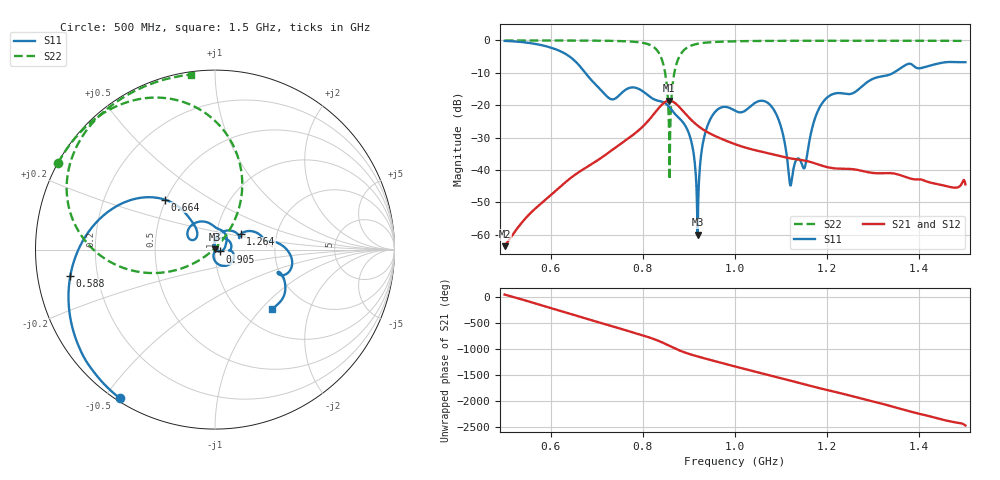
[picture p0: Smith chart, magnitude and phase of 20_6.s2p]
! TOUCHSTONE file generated by CST MICROWAVE STUDIO
! Date and time: Fri Oct  2 18:57:19 2020
! Project name: Scenario_1_Free_Space_out_of_line.cst
! Parameters = {Lambda=346.42; Step_1=17.321; dy1=18.161; dx1=1039; L_HA=400; MT=2.54; Rad_Dielectric=30; Rad_Lower=7.3; Rad_Upper=30; a_HA=580; a_WG=246; b_HA=500; b_WG=121; c_HA=0; c_WG=187; d_feed=85; h_feed=15; h_lower=18; h_upper=40}
! Header version: 2018
! Port assignment regex: !\s*Touchstone port\s*([0-9]+)\s*=\s*(CST MWS port|CST DS port)\s*([0-9]+|Zmin|Zmax)\s*\(\"(.*)\"\)(\s*mode\s*([0-9]+))?.*
! Touchstone port assignment:
! Touchstone port 1 = CST MWS port 1 ("")
! Touchstone port 2 = CST MWS port 2 ("")
# GHz S DB R 50
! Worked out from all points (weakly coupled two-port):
!   1003 points, 500 MHz to 1.5 GHz, reference 50 ohm
!   highest |S21| = -18.60 dB at 857 MHz (marker M1); lowest = -63.5 dB at 500 MHz (marker M2)
!   lowest |S11| = -60.0 dB at 919 MHz (marker M3), VSWR 1.00, Z = 50 + j0.0905 ohm
!   |S11| at or under -10 dB: 675.1 MHz to 1.344 GHz (668.7 MHz wide, 66.2 % of centre)
!   |S22| runs from -42.9 to 0.0 dB; largest |S21 - S12| = 1.7e-05
!   S11 on the Smith chart (normalised r, x): 500 MHz: 0.01, -0.55; 588 MHz: 0.10, -0.09; 664 MHz: 0.49, +0.32; 905 MHz: 1.05, -0.02; 1.264 GHz: 1.31, +0.23; 1.5 GHz: 1.37, -1.16
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0.5  -0.15 -122.5  -63.49 46.8  -63.49 46.8  -0.01 151.1
0.588  -1.72 -169.6  -49.24 177.3  -49.24 177.3  -0.02 145.0
0.664  -8.07 135.1  -40.37 -24.2  -40.37 -24.2  -0.04 138.6
0.667  -8.58 133.6  -40.09 -32.1  -40.09 -32.1  -0.04 138.3
0.73  -18.08 143.5  -34.16 166.5  -34.16 166.5  -0.13 130.7
0.834  -18.64 80.5  -20.95 -123.2  -20.95 -123.2  -3.67 85.0
0.848  -19.32 61.6  -19.03 -178.6  -19.03 -178.6  -9.72 63.3
0.857  -20.48 47.1  -18.60 142.6  -18.60 142.6  -28.45 54.3
0.874  -23.34 26.8  -19.83 72.1  -19.83 72.1  -6.79 -164.7
0.905  -31.08 -21.5  -24.51 -27.6  -24.51 -27.6  -1.58 165.5
0.919  -59.96 64.2  -26.29 -64.0  -26.29 -64.0  -1.03 158.5
0.93  -31.97 105.5  -27.42 -91.1  -27.42 -91.1  -0.78 154.4
0.945  -24.72 77.2  -28.67 -127.1  -28.67 -127.1  -0.58 150.0
1  -21.67 -2.7  -32.02 103.5  -32.02 103.5  -0.26 140.1
1.079  -20.34 -68.0  -35.04 -76.3  -35.04 -76.3  -0.14 131.5
1.121  -44.74 -39.1  -36.41 -170.8  -36.41 -170.8  -0.11 127.8
1.151  -39.34 52.5  -37.08 120.7  -37.08 120.7  -0.10 125.4
1.167  -27.29 92.2  -37.64 83.2  -37.64 83.2  -0.10 124.1
1.2  -17.61 54.1  -39.10 10.8  -39.10 10.8  -0.09 121.5
1.264  -15.57 30.8  -39.91 -130.3  -39.91 -130.3  -0.09 116.7
1.334  -10.63 9.4  -40.93 71.8  -40.93 71.8  -0.09 111.4
1.5  -6.72 -46.3  -44.42 49.8  -44.44 49.7  -0.14 97.7
